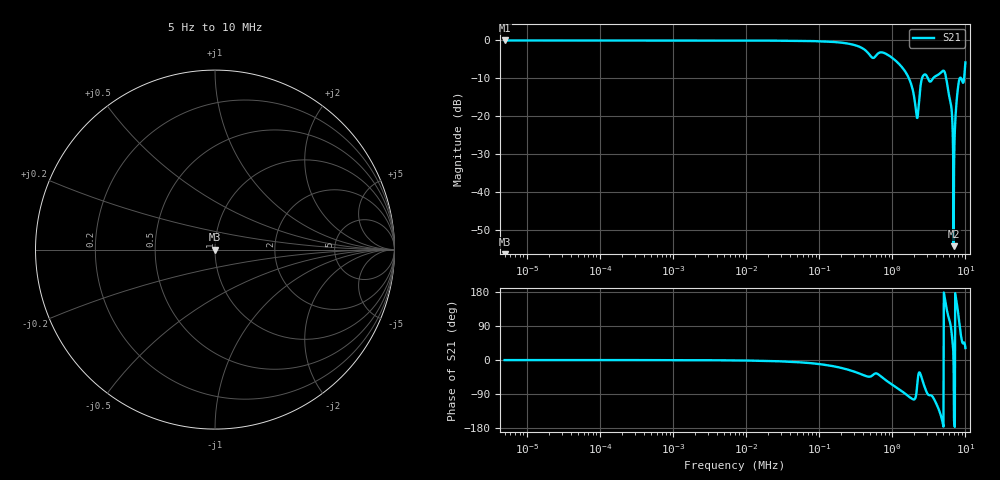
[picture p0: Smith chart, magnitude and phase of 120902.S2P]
!Agilent Technologies,E5061B,MY49204007,A.02.12
!Date: Fri Sep 12 10:07:14 2025
!Data & Calibration Information:
!Freq	S11:SOLT2(OFF)	S21:SOLT2(OFF)	S12:SOLT2(OFF)	S22:SOLT2(OFF)
# Hz S dB R 50
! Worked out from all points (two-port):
!   1041 points, 5 Hz to 10 MHz, reference 50 ohm
!   highest |S21| = -0.04 dB at 5 Hz (marker M1); lowest = -54.2 dB at 6.907 MHz (marker M2)
!   |S21| within 3 dB of the highest: start of sweep to 452.2 kHz
!   lowest |S11| = - dB at 5 Hz (marker M3), VSWR 1.00, Z = 50 + j0 ohm
!   |S11| at or under -10 dB: start of sweep to end of sweep
!   S12 and S22 are empty: the file has one direction only
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5  -200.00 0.0  -0.04 -0.2  -200.00 0.0  -200.00 0.0
56.522  -200.00 0.0  -0.04 -0.2  -200.00 0.0  -200.00 0.0
632.897  -200.00 0.0  -0.04 -0.3  -200.00 0.0  -200.00 0.0
7154.49  -200.00 0.0  -0.06 -1.1  -200.00 0.0  -200.00 0.0
80111.67  -200.00 0.0  -0.21 -8.7  -200.00 0.0  -200.00 0.0
230473.4  -200.00 0.0  -0.77 -23.8  -200.00 0.0  -200.00 0.0
404113.1  -200.00 0.0  -2.27 -39.9  -200.00 0.0  -200.00 0.0
584281.3  -200.00 0.0  -4.30 -35.6  -200.00 0.0  -200.00 0.0
893075.1  -200.00 0.0  -3.97 -58.7  -200.00 0.0  -200.00 0.0
1601372  -200.00 0.0  -9.10 -93.0  -200.00 0.0  -200.00 0.0
2174378  -200.00 0.0  -20.41 -74.7  -200.00 0.0  -200.00 0.0
2666740  -200.00 0.0  -9.23 -62.0  -200.00 0.0  -200.00 0.0
4125599  -200.00 0.0  -9.20 -121.0  -200.00 0.0  -200.00 0.0
5074112  -200.00 0.0  -8.05 178.1  -200.00 0.0  -200.00 0.0
6122175  -200.00 0.0  -15.53 101.5  -200.00 0.0  -200.00 0.0
6383646  -200.00 0.0  -17.25 83.3  -200.00 0.0  -200.00 0.0
6557960  -200.00 0.0  -19.51 62.8  -200.00 0.0  -200.00 0.0
6906588  -200.00 0.0  -54.18 -18.8  -200.00 0.0  -200.00 0.0
7255215  -200.00 0.0  -21.58 176.5  -200.00 0.0  -200.00 0.0
7597399  -200.00 0.0  -15.86 151.8  -200.00 0.0  -200.00 0.0
8077920  -200.00 0.0  -11.26 114.0  -200.00 0.0  -200.00 0.0
1e7  -200.00 0.0  -5.82 31.6  -200.00 0.0  -200.00 0.0
